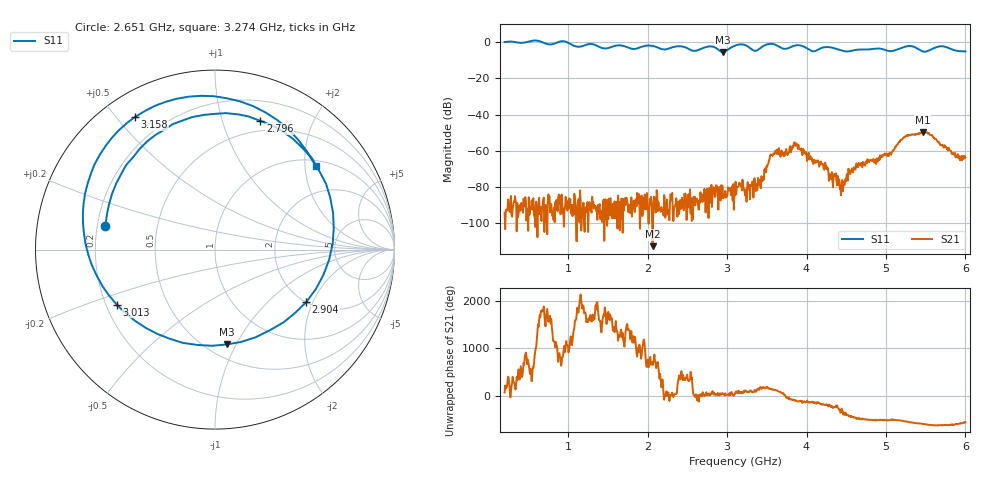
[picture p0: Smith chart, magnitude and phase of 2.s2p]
! NanoVNA-App
! Date: 2024-06-25 16:10:37
! Start: 200MHz Stop: 6GHz Points: 801
! S-Parameter data: F S11 S21 S12 S22
# Hz S RI R 50
!  Frequency  S11_Real  S11_Imag  S21_Real  S21_Imag  S12_Real  S12_Imag  S22_Real  S22_Imag
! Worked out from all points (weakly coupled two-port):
!   801 points, 200 MHz to 6 GHz, reference 50 ohm
!   highest |S21| = -49.62 dB at 5.463 GHz (marker M1); lowest = -112.8 dB at 2.063 GHz (marker M2)
!   lowest |S11| = -5.5 dB at 2.948 GHz (marker M3), VSWR 3.28, Z = 31 - j45.8 ohm
!   |S11| at or under -10 dB: nowhere
!   S12 and S22 are empty: the file has one direction only
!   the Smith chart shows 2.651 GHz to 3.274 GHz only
!   S11 on the Smith chart (normalised r, x): 2.651 GHz: 0.23, +0.10; 2.796 GHz: 0.39, +1.34; 2.904 GHz: 2.00, -1.79; 3.013 GHz: 0.24, -0.25; 3.158 GHz: 0.10, +0.56; 3.274 GHz: 1.15, +2.28
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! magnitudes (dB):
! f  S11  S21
! 200 MHz  0.0  -94.3
! 1.171 GHz  -2.3  -98.3
! 2.063 GHz  -2.1  -112.8
! 2.136 GHz  -3.1  -88.5
! 2.651 GHz  -4.1  -87.4
! 2.796 GHz  -2.4  -88.8
! 2.904 GHz  -4.6  -80.0
! 2.948 GHz  -5.5  -83.7
! 3.013 GHz  -4.0  -80.3
! 3.1 GHz  -1.9  -84.8
! 3.158 GHz  -1.3  -77.8
! 3.274 GHz  -2.7  -81.5
! 3.433 GHz  -2.8  -74.1
! 3.629 GHz  -1.9  -59.4
! 3.869 GHz  -1.7  -55.9
! 4.072 GHz  -5.0  -65.9
! 4.449 GHz  -4.7  -76.2
! 4.652 GHz  -4.2  -69.0
! 5.036 GHz  -4.9  -62.8
! 5.239 GHz  -2.5  -52.5
! 5.463 GHz  -5.1  -49.6
! 6 GHz  -5.1  -63.7
